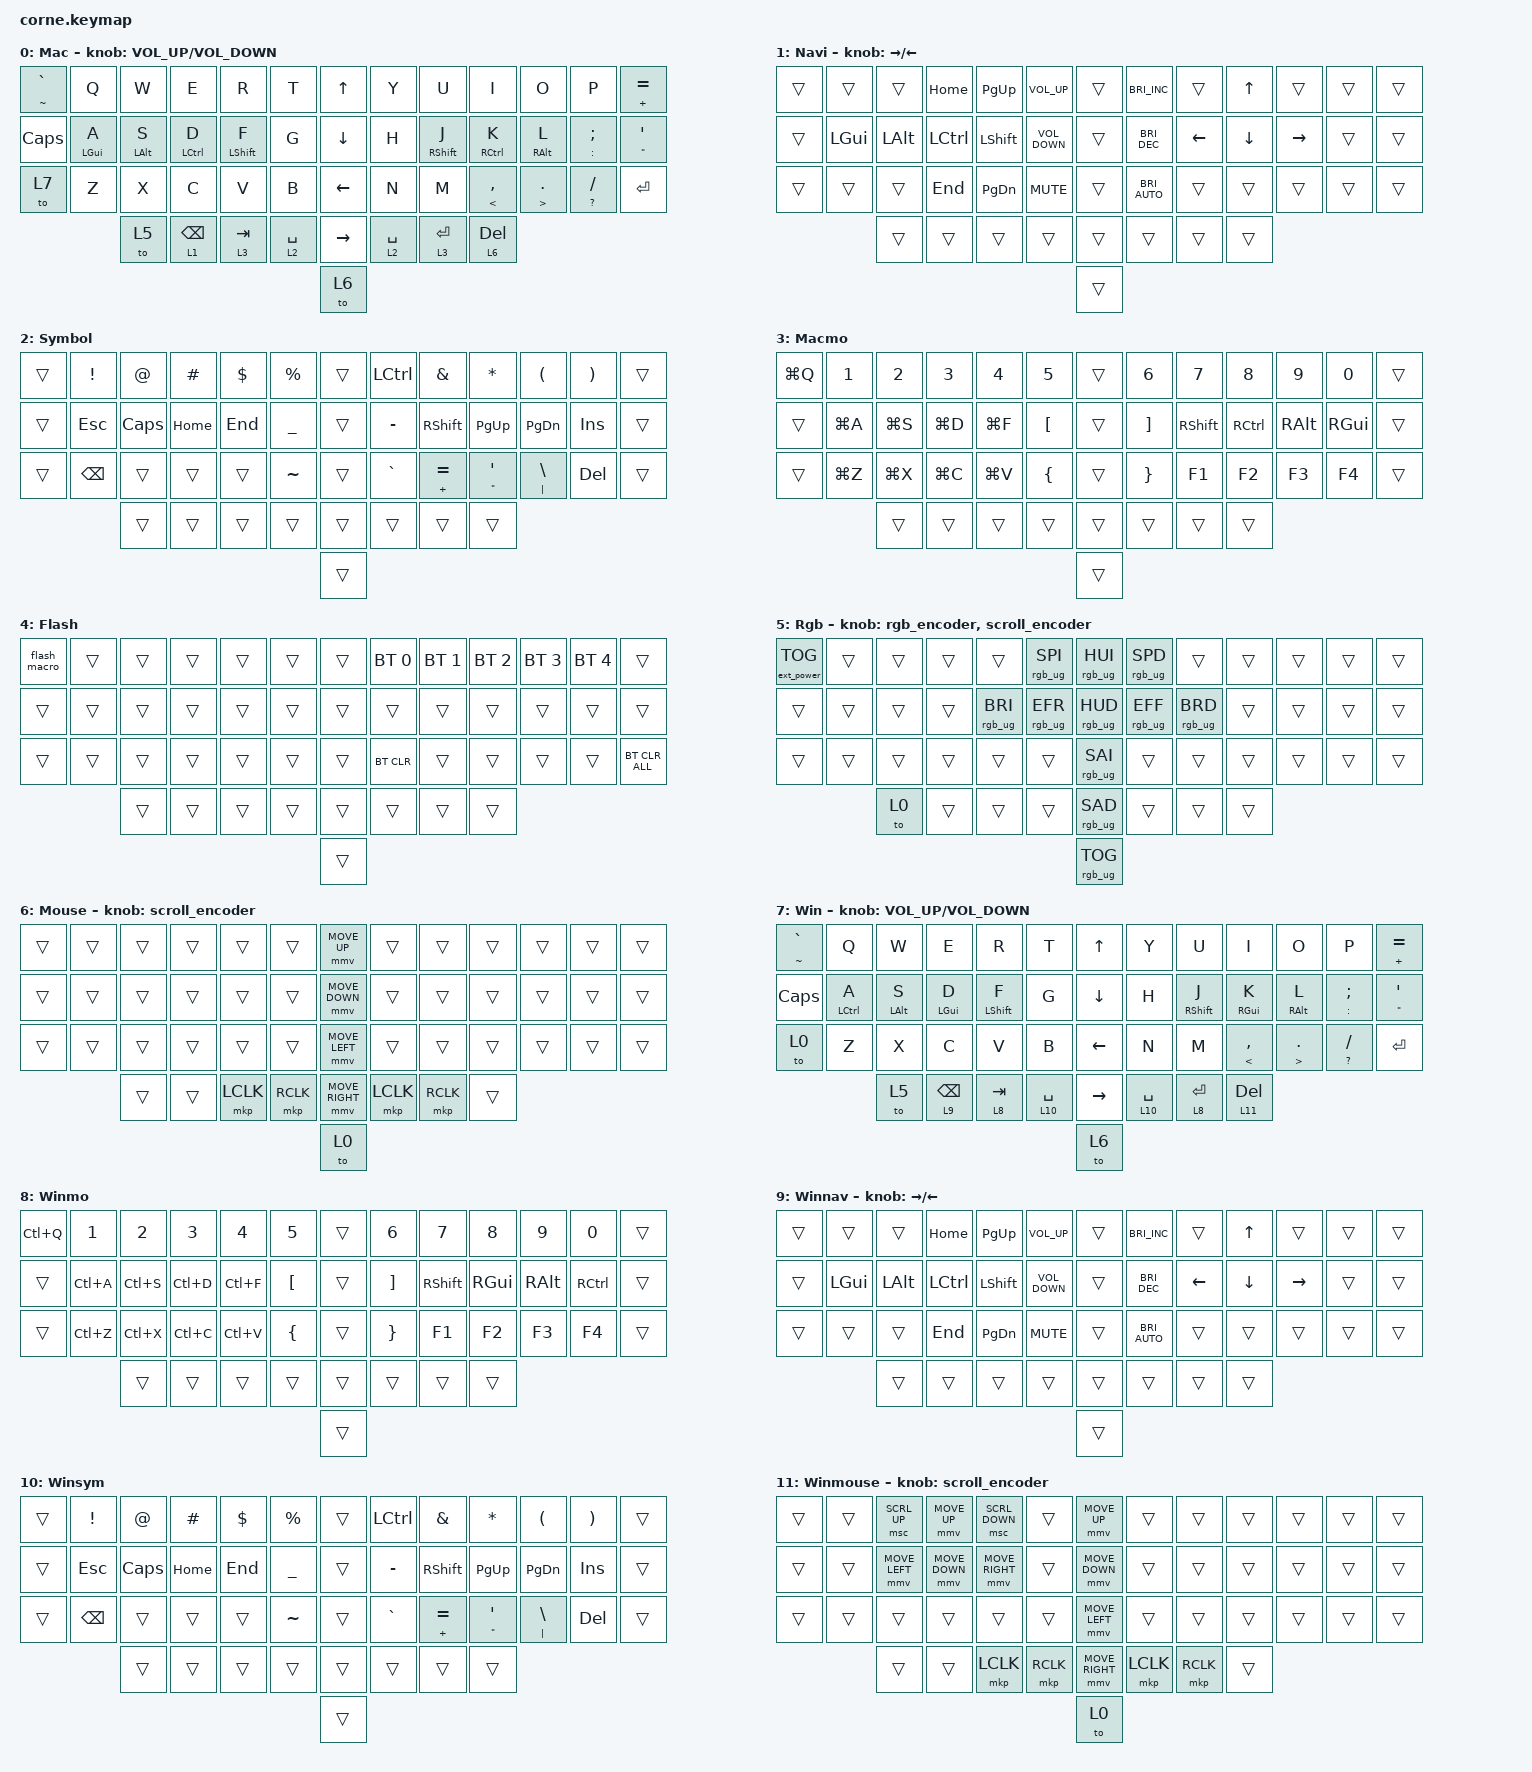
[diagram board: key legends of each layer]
#define ZMK_POINTING_DEFAULT_MOVE_VAL 1500  // 600
#define ZMK_POINTING_DEFAULT_SCRL_VAL 100   // 10

#include <input/processors.dtsi>
#include <zephyr/dt-bindings/input/input-event-codes.h>
#include <behaviors.dtsi>
#include <dt-bindings/zmk/bt.h>
#include <dt-bindings/zmk/ext_power.h>
#include <dt-bindings/zmk/keys.h>
#include <dt-bindings/zmk/pointing.h>
#include <dt-bindings/zmk/pointing.h>
#include <dt-bindings/zmk/pointing.h>
#include <dt-bindings/zmk/rgb.h>

&mmv_input_listener { input-processors = <&zip_xy_scaler 2 1>; };

&msc_input_listener { input-processors = <&zip_scroll_scaler 3 1>; };

&msc {
    acceleration-exponent = <1>;      // 0
    time-to-max-speed-ms = <40>;       // 300
    delay-ms = <16>;                   // 0
};

&mmv {
    time-to-max-speed-ms = <500>;
    acceleration-exponent = <1>;
    trigger-period-ms = <16>;
};

/ {
    macros {
        flash_macro: flash_macro {
            compatible = "zmk,behavior-macro";
            #binding-cells = <0>;
            bindings = <&bootloader>;
        };
    };

    behaviors {
        hml: homerow_mods_left {
            compatible = "zmk,behavior-hold-tap";
            label = "HOMEROW_MODS_LEFT";
            bindings = <&kp>, <&kp>;

            #binding-cells = <2>;
            tapping-term-ms = <200>;
            quick-tap-ms = <180>;
            flavor = "balanced";
            require-prior-idle-ms = <125>;
            hold-trigger-key-positions = <21 22 23>;
            hold-trigger-on-release;
        };

        ltq: ltq {
            compatible = "zmk,behavior-hold-tap";
            label = "LTQ";
            bindings = <&mo>, <&kp>;

            #binding-cells = <2>;
            tapping-term-ms = <200>;
            quick-tap-ms = <180>;
        };

        as: auto_shift {
            compatible = "zmk,behavior-hold-tap";
            label = "AUTO_SHIFT";
            bindings = <&kp>, <&kp>;

            #binding-cells = <2>;
            tapping-term-ms = <135>;
            quick-tap-ms = <0>;
        };

        rgb_encoder: rgb_encoder {
            compatible = "zmk,behavior-sensor-rotate";
            label = "RGB_ENCODER";
            #sensor-binding-cells = <0>;
            bindings = <&rgb_ug RGB_BRI>, <&rgb_ug RGB_BRD>;
        };

        scroll_encoder: scroll_encoder {
            compatible = "zmk,behavior-sensor-rotate";
            #sensor-binding-cells = <0>;
            bindings = <&msc SCRL_UP>, <&msc SCRL_DOWN>;

            tap-ms = <30>;
        };

        hmr: hmr {
            compatible = "zmk,behavior-hold-tap";
            label = "HMR";
            bindings = <&kp>, <&kp>;

            #binding-cells = <2>;
            tapping-term-ms = <200>;
            quick-tap-ms = <180>;
            flavor = "balanced";
            require-prior-idle-ms = <125>;
            hold-trigger-key-positions = <17 16 15 14>;
            hold-trigger-on-release;
        };
    };

    combos {
        compatible = "zmk,combos";

        esc {
            bindings = <&kp ESCAPE>;
            key-positions = <0 1>;
        };

        left_bkt {
            bindings = <&kp LEFT_BRACKET>;
            key-positions = <3 4>;
        };

        right_bkt {
            bindings = <&kp RIGHT_BRACKET>;
            key-positions = <9 8>;
        };

        left_par {
            bindings = <&kp LEFT_PARENTHESIS>;
            key-positions = <16 17>;
        };

        right_par {
            bindings = <&kp RIGHT_PARENTHESIS>;
            key-positions = <21 22>;
        };

        left_brace {
            bindings = <&kp LEFT_BRACE>;
            key-positions = <29 30>;
        };

        right_brace {
            bindings = <&kp RIGHT_BRACE>;
            key-positions = <34 35>;
        };

        bac {
            bindings = <&kp BACKSLASH>;
            key-positions = <5 7>;
        };

        pipe {
            bindings = <&kp PIPE>;
            key-positions = <18 20>;
        };
    };

    keymap {
        compatible = "zmk,keymap";

        Mac {
            bindings = <
&as TILDE GRAVE  &kp Q            &kp W            &kp E                &kp R              &kp T           &kp UP_ARROW     &kp Y         &kp U               &kp I                 &kp O                    &kp P                &as PLUS EQUAL
&kp CAPSLOCK     &hml LEFT_GUI A  &hml LEFT_ALT S  &hml LEFT_CONTROL D  &hml LEFT_SHIFT F  &kp G           &kp DOWN_ARROW   &kp H         &hmr RIGHT_SHIFT J  &hmr RIGHT_CONTROL K  &hmr RIGHT_ALT L         &as COLON SEMICOLON  &as DOUBLE_QUOTES SQT
&to 7            &kp Z            &kp X            &kp C                &kp V              &kp B           &kp LEFT_ARROW   &kp N         &kp M               &as LESS_THAN COMMA   &as GREATER_THAN PERIOD  &as QUESTION SLASH   &kp ENTER
                                  &to 5            &ltq 1 BACKSPACE     &ltq 3 TAB         &ltq 2 SPACE    &kp RIGHT_ARROW  &ltq 2 SPACE  &ltq 3 ENTER        &ltq 6 DELETE
                                                                                                           &to 6
            >;

            label = "Mac";
            sensor-bindings = <&inc_dec_kp C_VOLUME_UP C_VOLUME_DOWN>;
        };

        Navi {
            bindings = <
&trans  &trans        &trans        &kp HOME          &kp PAGE_UP     &kp C_VOLUME_UP      &trans  &kp C_BRIGHTNESS_INC   &trans          &kp UP_ARROW    &trans           &trans  &trans
&trans  &kp LEFT_GUI  &kp LEFT_ALT  &kp LEFT_CONTROL  &kp LEFT_SHIFT  &kp C_VOLUME_DOWN    &trans  &kp C_BRIGHTNESS_DEC   &kp LEFT_ARROW  &kp DOWN_ARROW  &kp RIGHT_ARROW  &trans  &trans
&trans  &trans        &trans        &kp END           &kp PAGE_DOWN   &kp K_MUTE           &trans  &kp C_BRIGHTNESS_AUTO  &trans          &trans          &trans           &trans  &trans
                      &trans        &trans            &trans          &trans               &trans  &trans                 &trans          &trans
                                                                                           &trans
            >;

            sensor-bindings = <&inc_dec_kp RIGHT_ARROW LEFT_ARROW>;
            label = "Navi";
        };

        Symbol {
            bindings = <
&trans  &kp EXCLAMATION  &kp AT_SIGN   &kp HASH  &kp DOLLAR  &kp PERCENT       &trans  &kp LCTRL  &kp AMPERSAND    &kp ASTERISK           &kp LEFT_PARENTHESIS  &kp RIGHT_PARENTHESIS  &trans
&trans  &kp ESCAPE       &kp CAPSLOCK  &kp HOME  &kp END     &kp UNDERSCORE    &trans  &kp MINUS  &kp RIGHT_SHIFT  &kp PAGE_UP            &kp PAGE_DOWN         &kp INSERT             &trans
&trans  &kp BACKSPACE    &trans        &trans    &trans      &kp TILDE         &trans  &kp GRAVE  &as PLUS EQUAL   &as DOUBLE_QUOTES SQT  &as PIPE BACKSLASH    &kp DELETE             &trans
                         &trans        &trans    &trans      &trans            &trans  &trans     &trans           &trans
                                                                               &trans
            >;

            label = "Symbol";
        };

        Macmo {
            bindings = <
&kp LG(Q)  &kp NUMBER_1  &kp NUMBER_2  &kp NUMBER_3  &kp NUMBER_4  &kp NUMBER_5        &trans  &kp NUMBER_6       &kp NUMBER_7     &kp NUMBER_8       &kp NUMBER_9   &kp NUMBER_0   &trans
&trans     &kp LG(A)     &kp LG(S)     &kp LG(D)     &kp LG(F)     &kp LEFT_BRACKET    &trans  &kp RIGHT_BRACKET  &kp RIGHT_SHIFT  &kp RIGHT_CONTROL  &kp RIGHT_ALT  &kp RIGHT_GUI  &trans
&trans     &kp LG(Z)     &kp LG(X)     &kp LG(C)     &kp LG(V)     &kp LEFT_BRACE      &trans  &kp RIGHT_BRACE    &kp F1           &kp F2             &kp F3         &kp F4         &trans
                         &trans        &trans        &trans        &trans              &trans  &trans             &trans           &trans
                                                                                       &trans
            >;

            label = "Macmo";
        };

        Flash {
            bindings = <
&flash_macro  &trans  &trans  &trans  &trans  &trans    &trans  &bt BT_SEL 0  &bt BT_SEL 1  &bt BT_SEL 2  &bt BT_SEL 3  &bt BT_SEL 4  &trans
&trans        &trans  &trans  &trans  &trans  &trans    &trans  &trans        &trans        &trans        &trans        &trans        &trans
&trans        &trans  &trans  &trans  &trans  &trans    &trans  &bt BT_CLR    &trans        &trans        &trans        &trans        &bt BT_CLR_ALL
                      &trans  &trans  &trans  &trans    &trans  &trans        &trans        &trans
                                                        &trans
            >;

            label = "Flash";
        };

        Rgb {
            bindings = <
&ext_power EP_TOG  &trans  &trans  &trans  &trans           &rgb_ug RGB_SPI    &rgb_ug RGB_HUI  &rgb_ug RGB_SPD  &trans           &trans  &trans  &trans  &trans
&trans             &trans  &trans  &trans  &rgb_ug RGB_BRI  &rgb_ug RGB_EFR    &rgb_ug RGB_HUD  &rgb_ug RGB_EFF  &rgb_ug RGB_BRD  &trans  &trans  &trans  &trans
&trans             &trans  &trans  &trans  &trans           &trans             &rgb_ug RGB_SAI  &trans           &trans           &trans  &trans  &trans  &trans
                           &to 0   &trans  &trans           &trans             &rgb_ug RGB_SAD  &trans           &trans           &trans
                                                                               &rgb_ug RGB_TOG
            >;

            label = "Rgb";
            sensor-bindings = <&rgb_encoder &scroll_encoder>;
        };

        Mouse {
            bindings = <
&trans  &trans  &trans  &trans  &trans     &trans       &mmv MOVE_UP     &trans     &trans     &trans  &trans  &trans  &trans
&trans  &trans  &trans  &trans  &trans     &trans       &mmv MOVE_DOWN   &trans     &trans     &trans  &trans  &trans  &trans
&trans  &trans  &trans  &trans  &trans     &trans       &mmv MOVE_LEFT   &trans     &trans     &trans  &trans  &trans  &trans
                &trans  &trans  &mkp LCLK  &mkp RCLK    &mmv MOVE_RIGHT  &mkp LCLK  &mkp RCLK  &trans
                                                        &to 0
            >;

            label = "Mouse";
            sensor-bindings = <&scroll_encoder>;
        };

        Win {
            label = "Win";
            bindings = <
&as TILDE GRAVE  &kp Q                &kp W            &kp E             &kp R              &kp T            &kp UP_ARROW     &kp Y          &kp U               &kp I                &kp O                    &kp P                &as PLUS EQUAL
&kp CAPSLOCK     &hml LEFT_CONTROL A  &hml LEFT_ALT S  &hml LEFT_GUI D   &hml LEFT_SHIFT F  &kp G            &kp DOWN_ARROW   &kp H          &hmr RIGHT_SHIFT J  &hmr RIGHT_GUI K     &hmr RIGHT_ALT L         &as COLON SEMICOLON  &as DOUBLE_QUOTES SQT
&to 0            &kp Z                &kp X            &kp C             &kp V              &kp B            &kp LEFT_ARROW   &kp N          &kp M               &as LESS_THAN COMMA  &as GREATER_THAN PERIOD  &as QUESTION SLASH   &kp ENTER
                                      &to 5            &ltq 9 BACKSPACE  &ltq 8 TAB         &ltq 10 SPACE    &kp RIGHT_ARROW  &ltq 10 SPACE  &ltq 8 ENTER        &ltq 11 DELETE
                                                                                                             &to 6
            >;

            sensor-bindings = <&inc_dec_kp C_VOLUME_UP C_VOLUME_DOWN>;
        };

        Winmo {
            label = "Winmo";
            bindings = <
&kp LC(Q)  &kp NUMBER_1  &kp NUMBER_2  &kp NUMBER_3  &kp NUMBER_4  &kp NUMBER_5        &trans  &kp NUMBER_6       &kp NUMBER_7     &kp NUMBER_8   &kp NUMBER_9   &kp NUMBER_0       &trans
&trans     &kp LC(A)     &kp LC(S)     &kp LC(D)     &kp LC(F)     &kp LEFT_BRACKET    &trans  &kp RIGHT_BRACKET  &kp RIGHT_SHIFT  &kp RIGHT_GUI  &kp RIGHT_ALT  &kp RIGHT_CONTROL  &trans
&trans     &kp LC(Z)     &kp LC(X)     &kp LC(C)     &kp LC(V)     &kp LEFT_BRACE      &trans  &kp RIGHT_BRACE    &kp F1           &kp F2         &kp F3         &kp F4             &trans
                         &trans        &trans        &trans        &trans              &trans  &trans             &trans           &trans
                                                                                       &trans
            >;
        };

        Winnav {
            label = "Winnav";
            bindings = <
&trans  &trans        &trans        &kp HOME          &kp PAGE_UP     &kp C_VOLUME_UP      &trans  &kp C_BRIGHTNESS_INC   &trans          &kp UP_ARROW    &trans           &trans  &trans
&trans  &kp LEFT_GUI  &kp LEFT_ALT  &kp LEFT_CONTROL  &kp LEFT_SHIFT  &kp C_VOLUME_DOWN    &trans  &kp C_BRIGHTNESS_DEC   &kp LEFT_ARROW  &kp DOWN_ARROW  &kp RIGHT_ARROW  &trans  &trans
&trans  &trans        &trans        &kp END           &kp PAGE_DOWN   &kp K_MUTE           &trans  &kp C_BRIGHTNESS_AUTO  &trans          &trans          &trans           &trans  &trans
                      &trans        &trans            &trans          &trans               &trans  &trans                 &trans          &trans
                                                                                           &trans
            >;

            sensor-bindings = <&inc_dec_kp RIGHT_ARROW LEFT_ARROW>;
        };

        Winsym {
            label = "Winsym";
            bindings = <
&trans  &kp EXCLAMATION  &kp AT_SIGN   &kp HASH  &kp DOLLAR  &kp PERCENT       &trans  &kp LCTRL  &kp AMPERSAND    &kp ASTERISK           &kp LEFT_PARENTHESIS  &kp RIGHT_PARENTHESIS  &trans
&trans  &kp ESCAPE       &kp CAPSLOCK  &kp HOME  &kp END     &kp UNDERSCORE    &trans  &kp MINUS  &kp RIGHT_SHIFT  &kp PAGE_UP            &kp PAGE_DOWN         &kp INSERT             &trans
&trans  &kp BACKSPACE    &trans        &trans    &trans      &kp TILDE         &trans  &kp GRAVE  &as PLUS EQUAL   &as DOUBLE_QUOTES SQT  &as PIPE BACKSLASH    &kp DELETE             &trans
                         &trans        &trans    &trans      &trans            &trans  &trans     &trans           &trans
                                                                               &trans
            >;
        };

        Winmouse {
            label = "Winmouse";
            bindings = <
&trans  &trans  &msc SCRL_UP    &mmv MOVE_UP    &msc SCRL_DOWN   &trans       &mmv MOVE_UP     &trans     &trans     &trans  &trans  &trans  &trans
&trans  &trans  &mmv MOVE_LEFT  &mmv MOVE_DOWN  &mmv MOVE_RIGHT  &trans       &mmv MOVE_DOWN   &trans     &trans     &trans  &trans  &trans  &trans
&trans  &trans  &trans          &trans          &trans           &trans       &mmv MOVE_LEFT   &trans     &trans     &trans  &trans  &trans  &trans
                &trans          &trans          &mkp LCLK        &mkp RCLK    &mmv MOVE_RIGHT  &mkp LCLK  &mkp RCLK  &trans
                                                                              &to 0
            >;

            sensor-bindings = <&scroll_encoder>;
        };
    };

    conditional_layers {
        compatible = "zmk,conditional-layers";

        Flash {
            if-layers = <3 2>;
            then-layer = <4>;
        };
    };
};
